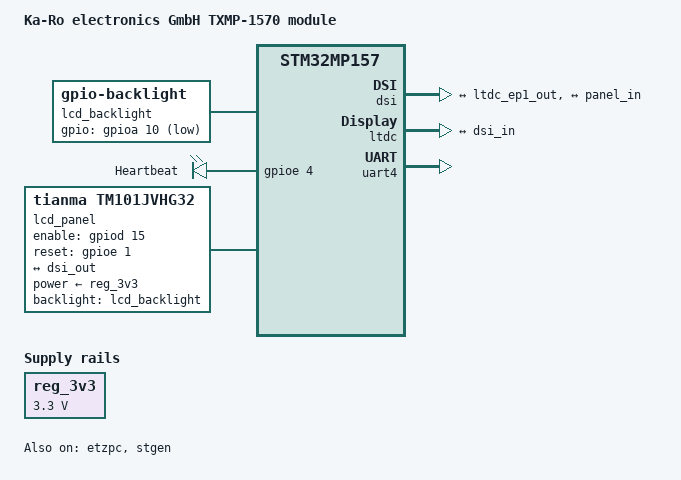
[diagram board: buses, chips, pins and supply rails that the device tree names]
// SPDX-License-Identifier: (GPL-2.0+ OR BSD-3-Clause)
/*
 * Copyright (C) STMicroelectronics 2019 - All Rights Reserved
 * Author: STM32CubeMX code generation for STMicroelectronics.
 */

/dts-v1/;

#include "stm32mp157c-txmp-1570.dts"

/ {
	model = "Ka-Ro electronics GmbH TXMP-1570 module";
	compatible = "st,stm32mp157c-txmp-1570", "st,stm32mp157";

	aliases {
		display = &lcd_panel;
	};

	chosen {
		stdout-path = "serial0:115200n8";
	};

	lcd_backlight: lcd-backlight {
		compatible = "gpio-backlight";
		gpios = <&gpioa 10 GPIO_ACTIVE_LOW>;
		default-on;
	};

	leds {
		compatible = "gpio-leds";

		module_led {
			gpios = <&gpioe 4 GPIO_ACTIVE_HIGH>;
			label = "Heartbeat";
			linux,default-trigger = "heartbeat";
		};
	};

	reg_3v3: regulator-3v3 {
		compatible = "regulator-fixed";
		regulator-name = "3v3";
		regulator-min-microvolt = <3300000>;
		regulator-max-microvolt = <3300000>;
		regulator-always-on;
	};

	soc {
		etzpc: etzpc@5c007000 {
			compatible = "st,stm32mp1-etzpc";
			reg = <0x5c007000 0x400>;
			clocks = <&rcc TZPC>;
			status = "okay";
			secure-status = "okay";
		};

		sound {
		};

		stgen: stgen@5c008000 {
			compatible = "st,stm32-stgen";
			reg = <0x5c008000 0x1000>;
			status = "okay";
		};
	};

	lcd_panel: panel {
		compatible = "tianma,tm101jvhg32";
		pinctrl-names = "default", "sleep";
		enable-gpios = <&gpiod 15 GPIO_ACTIVE_HIGH>;
		reset-gpios = <&gpioe 1 GPIO_ACTIVE_HIGH>;
		backlight = <&lcd_backlight>;
		power-supply = <&reg_3v3>;
		status = "okay";

		port {
			panel_in: endpoint {
				remote-endpoint = <&dsi_out>;
			};
		};
	};
};

&dsi {
	status = "okay";

	ports {
		#address-cells = <1>;
		#size-cells = <0>;

		port@0 {
			reg = <0>;
			dsi_in: endpoint {
				remote-endpoint = <&ltdc_ep1_out>;
			};
		};

		port@1 {
			reg = <1>;
			dsi_out: endpoint {
				remote-endpoint = <&panel_in>;
			};
		};
	};
};

&ltdc {
	status = "okay";

	port {
		#address-cells = <1>;
		#size-cells = <0>;

		ltdc_ep1_out: endpoint@1 {
			reg = <1>;
			remote-endpoint = <&dsi_in>;
		};
	};
};

&uart4 {
	pinctrl-names = "default";
	pinctrl-0 = <&txmp_uart4_pins>;
	status = "okay";
};

&uart5 {
	status = "disabled";
};

&uart7 {
	status = "disabled";
};
